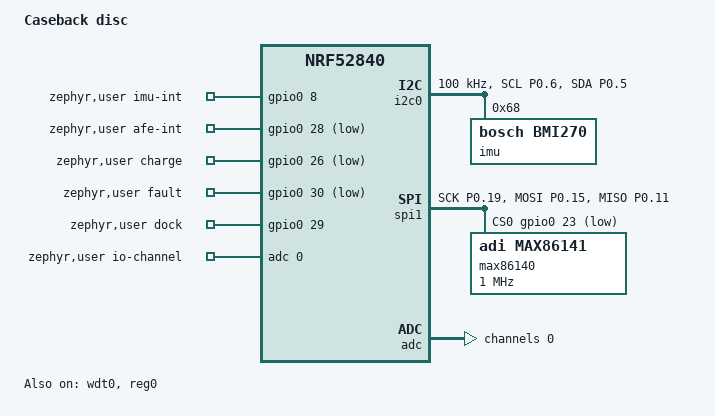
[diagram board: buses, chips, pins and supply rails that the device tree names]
/dts-v1/;
#include <nordic/nrf52840_qiaa.dtsi>
#include <zephyr/dt-bindings/adc/adc.h>
#include <zephyr/dt-bindings/adc/nrf-saadc.h>
#include <zephyr/dt-bindings/gpio/gpio.h>

/ {
	chosen {
		zephyr,sram = &sram0;
		zephyr,flash = &flash0;
		zephyr,code-partition = &slot0_partition;
	};
	model = "Caseback disc";
	compatible = "caseback,disc";
	aliases { watchdog0 = &wdt0; };
	zephyr,user {
		imu-int-gpios = <&gpio0 8 GPIO_ACTIVE_HIGH>;
		afe-int-gpios = <&gpio0 28 GPIO_ACTIVE_LOW>;
		charge-gpios = <&gpio0 26 (GPIO_ACTIVE_LOW | GPIO_PULL_UP)>;
		fault-gpios = <&gpio0 30 (GPIO_ACTIVE_LOW | GPIO_PULL_UP)>;
		dock-gpios = <&gpio0 29 GPIO_ACTIVE_HIGH>;
		io-channels = <&adc 0>;
	};
};
&pinctrl {
	i2c_run: i2c_run { group1 { psels = <NRF_PSEL(TWIM_SCL,0,6)>, <NRF_PSEL(TWIM_SDA,0,5)>; }; };
	i2c_sleep: i2c_sleep { group1 { psels = <NRF_PSEL(TWIM_SCL,0,6)>, <NRF_PSEL(TWIM_SDA,0,5)>; low-power-enable; }; };
	spi_run: spi_run { group1 { psels = <NRF_PSEL(SPIM_SCK,0,19)>, <NRF_PSEL(SPIM_MOSI,0,15)>, <NRF_PSEL(SPIM_MISO,0,11)>; }; };
	spi_sleep: spi_sleep { group1 { psels = <NRF_PSEL(SPIM_SCK,0,19)>, <NRF_PSEL(SPIM_MOSI,0,15)>, <NRF_PSEL(SPIM_MISO,0,11)>; low-power-enable; }; };
};
&gpio0 { status = "okay"; };
&gpiote { status = "okay"; };
&wdt0 { status = "okay"; };
&reg0 { status = "okay"; };
&reg1 { regulator-initial-mode = <NRF5X_REG_MODE_DCDC>; };
disc_i2c: &i2c0 {
	compatible = "nordic,nrf-twim";
	status = "okay";
	pinctrl-0 = <&i2c_run>; pinctrl-1 = <&i2c_sleep>; pinctrl-names = "default", "sleep";
	clock-frequency = <100000>;
	/* BMI270 init: register address followed by up to 256 configuration bytes. */
	zephyr,concat-buf-size = <257>;
	zephyr,flash-buf-max-size = <257>;
	imu: bmi270@68 { compatible = "bosch,bmi270"; reg = <0x68>; };
};
&spi1 {
	compatible = "nordic,nrf-spim";
	status = "okay";
	pinctrl-0 = <&spi_run>; pinctrl-1 = <&spi_sleep>; pinctrl-names = "default", "sleep";
	cs-gpios = <&gpio0 23 GPIO_ACTIVE_LOW>;
	max86140: ppg@0 { compatible = "adi,max86141"; reg = <0>; spi-max-frequency = <1000000>; };
};
&adc {
	status = "okay";
	#address-cells = <1>; #size-cells = <0>;
	channel@0 {
		reg = <0>; zephyr,gain = "ADC_GAIN_1_4"; zephyr,reference = "ADC_REF_INTERNAL";
		zephyr,acquisition-time = <ADC_ACQ_TIME(ADC_ACQ_TIME_MICROSECONDS,40)>;
		zephyr,input-positive = <NRF_SAADC_AIN1>; zephyr,resolution = <12>;
	};
};


&flash0 {
	partitions {
		compatible = "fixed-partitions";
		#address-cells = <1>;
		#size-cells = <1>;
		boot_partition: partition@0 { label = "mcuboot"; reg = <0x0 0xc000>; };
		slot0_partition: partition@c000 { label = "image-0"; reg = <0xc000 0x66000>; };
		slot1_partition: partition@72000 { label = "image-1"; reg = <0x72000 0x66000>; };
		history_partition: partition@d8000 { label = "history"; reg = <0xd8000 0x20000>; };
		storage_partition: partition@f8000 { label = "storage"; reg = <0xf8000 0x8000>; };
	};
};
